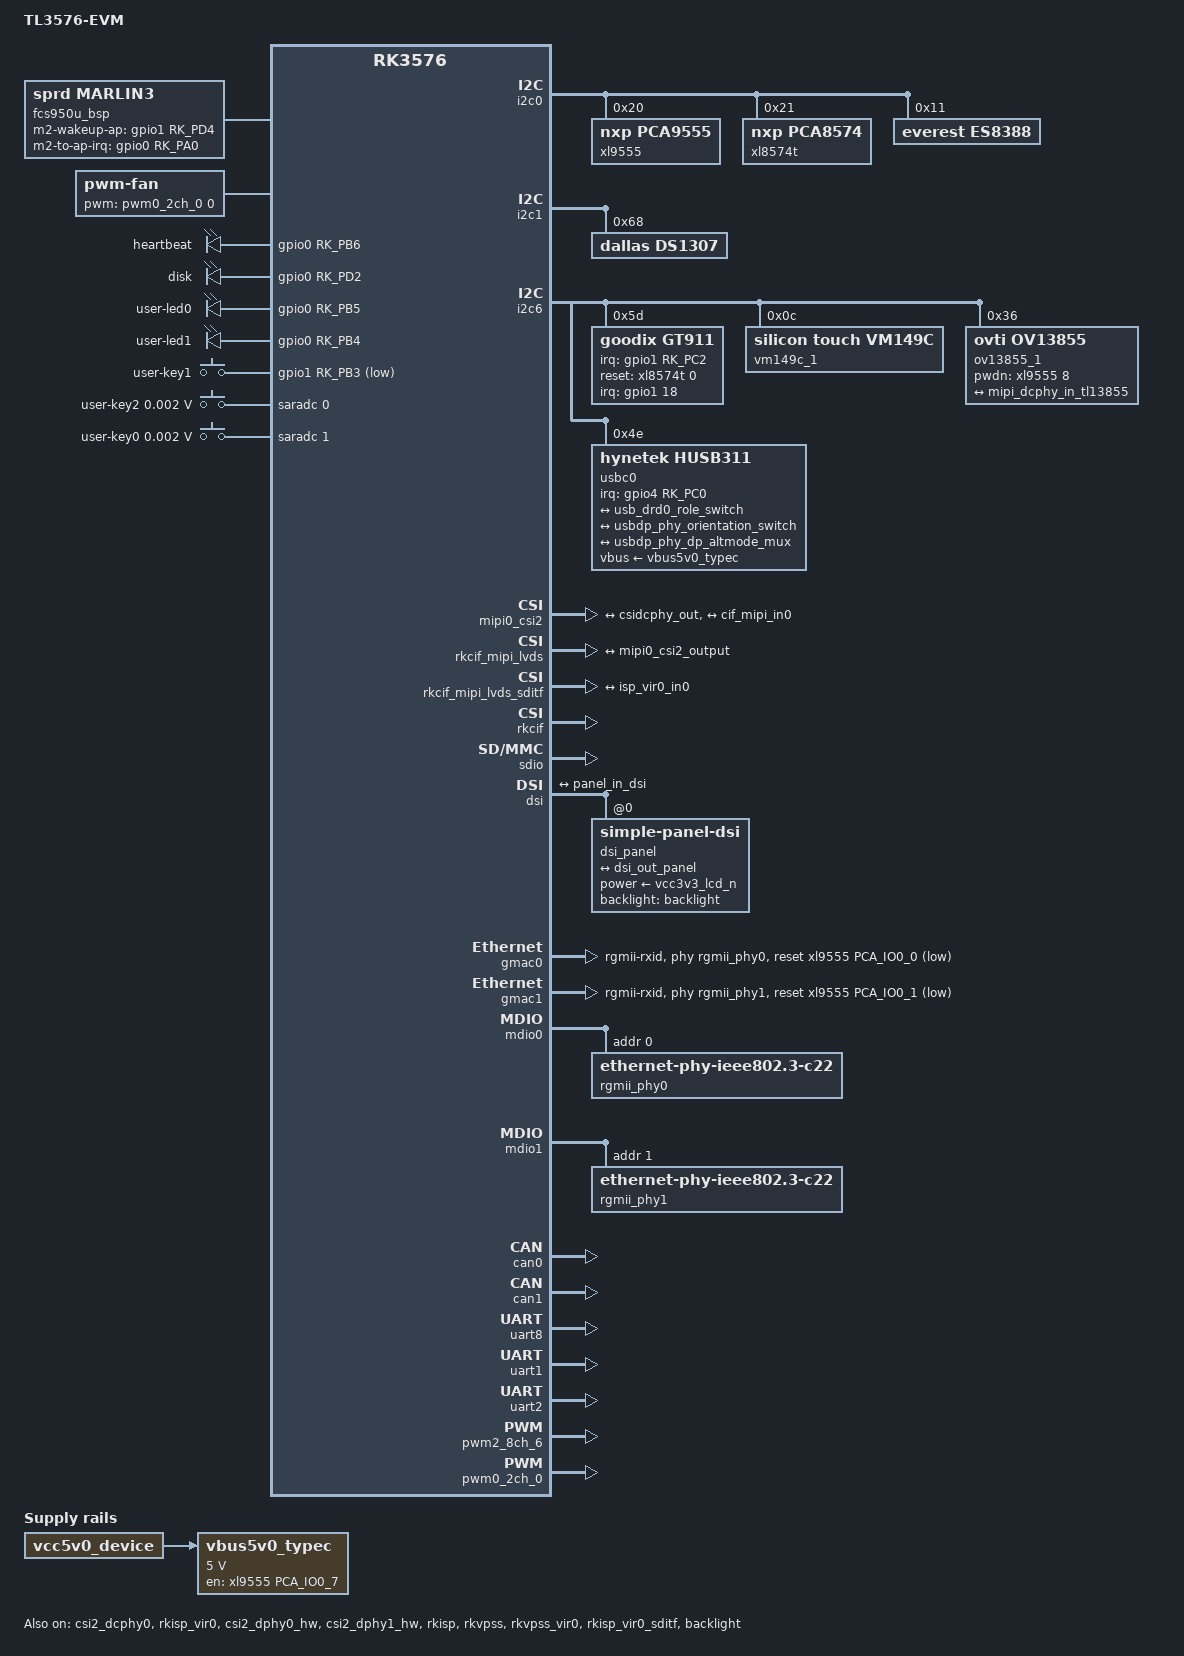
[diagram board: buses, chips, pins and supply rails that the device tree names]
// SPDX-License-Identifier: (GPL-2.0+ OR MIT)
/*
 * Copyright (c) 2024 Rockchip Electronics Co., Ltd.
 *
 */

/dts-v1/;

#include "rk3576.dtsi"
#include "rk3576-evb1.dtsi"
#include "rk3576-linux.dtsi"

/ {
	model = "TL3576-EVM";
	compatible = "tronlong,tl3576-evm", "rockchip,rk3576";

	vbus5v0_typec: vbus5v0-typec {
		compatible = "regulator-fixed";
		regulator-name = "vbus5v0_typec";
		regulator-min-microvolt = <5000000>;
		regulator-max-microvolt = <5000000>;
		enable-active-high;
		gpio = <&xl9555 PCA_IO0_7 GPIO_ACTIVE_HIGH>;
		vin-supply = <&vcc5v0_device>;
	};

	wireless_bluetooth: wireless-bluetooth {
		compatible = "bluetooth-platdata";
		//BT,reset_gpio    = <&xl8574t 7 GPIO_ACTIVE_HIGH>;
		status = "okay";
	};

	fcs950u_bsp: sprd-marlin3 {
		compatible = "sprd,marlin3";
		sprd,btwf-file-name = "/vendor/etc/wcnmodem.bin";
		sdhci-name = <&sdio>;
		keep-power-on;
		m2-wakeup-ap-gpios = <&gpio1 RK_PD4 GPIO_ACTIVE_HIGH>;
		m2-to-ap-irq-gpios = <&gpio0 RK_PA0 GPIO_ACTIVE_HIGH>;
		status = "okay";
	};

	sdio_pwrseq: sdio-pwrseq {
		compatible = "mmc-pwrseq-simple";

		/*
		 * On the module itself this is one of these (depending
		 * on the actual card populated):
		 * - SDIO_RESET_L_WL_REG_ON
		 * - PDN (power down when low)
		 */
		post-power-on-delay-ms = <200>;
		status = "okay";
	};


	sprd-wlan {
		compatible = "sprd,sc2355-wifi";
	};

	wireless_wlan: wireless-wlan {
		compatible = "wlan-platdata";
		wifi_chip_type = "ap6275p";
		pinctrl-names = "default";
		pinctrl-0 = <&wifi_host_wake_irq>;
		WIFI,host_wake_irq = <&gpio1 RK_PD4 GPIO_ACTIVE_HIGH>;
		/delete-property/ WIFI,host_wake_irq;
		status = "okay";
	};

	fan: pwm-fan {
		compatible = "pwm-fan";
		#cooling-cells = <2>;
		pwms = <&pwm0_2ch_0 0 50000 0>;
		cooling-levels = <0 50 100 150 200 255>;
		rockchip,temp-trips = <
			25000   5
		>;
	};

	leds {
		status = "okay";
		compatible = "gpio-leds";
		pinctrl-names = "default";
		pinctrl-0 = <&som_led0 &som_led1 &user_led0 &user_led1>;

		som_led0 {
			label = "heartbeat";
			gpios = <&gpio0 RK_PB6 GPIO_ACTIVE_HIGH>;
			linux,default-trigger = "heartbeat";
			default-state = "off";
		};

		som_led1 {
			label = "disk";
			gpios = <&gpio0 RK_PD2 GPIO_ACTIVE_HIGH>;
			linux,default-trigger = "mmc0";
			default-state = "off";
		};

		user_led0 {
			label = "user-led0";
			gpios = <&gpio0 RK_PB5 GPIO_ACTIVE_HIGH>;
			linux,default-trigger = "default-on";
			default-state = "off";
		};

		user_led1 {
			label = "user-led1";
			gpios = <&gpio0 RK_PB4 GPIO_ACTIVE_HIGH>;
			linux,default-trigger = "default-on";
			default-state = "off";
		};
	};

	gpio-keys {
		compatible = "gpio-keys";
		autorepeat;
		pinctrl-names = "default";
		pinctrl-0 = <&user_key0>;

		user_key0 {
			label = "user-key1";
			linux,code = <KEY_PROG2>;
			gpios = <&gpio1 RK_PB3 GPIO_ACTIVE_LOW>;
			debounce-interval = <0>;
		};
	};

	/delete-node/ adc-keys;

        adc-keys1 {
            compatible = "adc-keys";
            io-channels = <&saradc 0>;
            io-channel-names = "buttons";
            keyup-threshold-microvolt = <1800000>;
            poll-interval = <100>;

                user_key2 {
                    label = "user-key2";
                    linux,code = <KEY_PROG3>;
                    press-threshold-microvolt = <1750>;
                };
        };

        adc-keys2 {
            compatible = "adc-keys";
            io-channels = <&saradc 1>;
            io-channel-names = "buttons";
            keyup-threshold-microvolt = <1800000>;
            poll-interval = <100>;

                user_key0 {
                    label = "user-key0";
                    linux,code = <KEY_PROG1>;
                    press-threshold-microvolt = <1750>;
                };
        };
};

&fiq_debugger {
	rockchip,baudrate = <115200>;
};

&cluster0_opp_table{
        /* RK3576 A53 core limit at 1.4GHz */
        /delete-node/ opp-1608000000;
        /delete-node/ opp-1800000000;
        /delete-node/ opp-2016000000;

        /* RK3576J A53 core limit at 1.4GHz */
        /delete-node/ opp-j-m-1608000000;
        /delete-node/ opp-j-m-1800000000;
        /delete-node/ opp-j-m-1920000000;
};

&cluster1_opp_table{
        /* RK3576 A72 core limit at 1.6GHz */
        /delete-node/ opp-1800000000;
        /delete-node/ opp-2016000000;
        /delete-node/ opp-2208000000;

        /* RK3576J A72 core limit at 1.6GHz */
        /delete-node/ opp-j-m-1800000000;
        /delete-node/ opp-j-m-2016000000;
        /delete-node/ opp-j-m-2112000000;
};

&gpu_opp_table {
	/* RK3576 GPU limit at 700MHz */
	/delete-node/ opp-s-800000000;
	/delete-node/ opp-800000000;
	/delete-node/ opp-900000000;

	/* RK3576J GPU limit at 700MHz */
	/delete-node/ opp-j-m-800000000;
};

&npu_opp_table {
	/* RK3576 NPU limit at 700MHz */
	/delete-node/ opp-800000000;
	/delete-node/ opp-900000000;
	/delete-node/ opp-950000000;

	/* RK3576J NPU limit at 700MHz */
	/delete-node/ opp-j-m-800000000;
	/delete-node/ opp-j-m-850000000;
};

&dmc {
	system-status-level = <
		/* system status        freq level */
		SYS_STATUS_NORMAL       DMC_FREQ_LEVEL_HIGH
	>;
	auto-freq-en = <0>;
	status = "disabled";
};

&i2c0 {
	pinctrl-0 = <&i2c0m0_xfer>;
	status = "okay";

	xl9555: xl9555@20 {
		status = "okay";
		compatible = "nxp,pca9555";
		reg = <0x20>;
		gpio-controller;
		#gpio-cells = <2>;
		gpio-group-num = <200>;
	};

        xl8574t: xl8574@21 {
		status = "okay";
		compatible = "nxp,pca8574";
		reg = <0x21>;
		gpio-controller;
		#gpio-cells = <2>;
	};

	es8388: es8388@11 {
		status = "okay";
		#sound-dai-cells = <0>;
		compatible = "everest,es8388", "everest,es8323";
		reg = <0x11>;
		clocks = <&mclkout_sai1>;
		clock-names = "mclk";
		assigned-clocks = <&mclkout_sai1>;
		assigned-clock-rates = <12288000>;
		pinctrl-names = "default";
		pinctrl-0 = <&sai1m0_mclk>;
	};
};

&i2c1 {
	status = "okay";

	ds1307@68 {
		compatible = "dallas,ds1307";
		reg = <0x68>;
		status = "okay";
	};
};

&i2c4 {
	status = "disabled";
};

&i2c6 {
	status = "okay";
	pinctrl-names = "default";
	pinctrl-0 = <&i2c6m0_xfer>;

	gt911@5d {
		compatible = "goodix,gt911";
		reg = <0x5d>;
		interrupt-parent = <&gpio1>;
		interrupts = <18 0>;
		irq-gpios = <&gpio1 RK_PC2 0>;
		reset-gpios = <&xl8574t 0 GPIO_ACTIVE_HIGH>;
		pinctrl-names = "default";
		pinctrl-0 = <&gt911_int>;
		status = "okay";
	};

	vm149c_1: vm149c@c {
                compatible = "silicon touch,vm149c";
                status = "okay";
                reg = <0x0c>;
                rockchip,camera-module-index = <0>;
                rockchip,camera-module-facing = "back";
        };

    ov13855_1: ov13855@36 {
                compatible = "ovti,ov13855";
                status = "okay";
                reg = <0x36>;
                clocks = <&cru CLK_MIPI_CAMERAOUT_M1>;
                clock-names = "xvclk";
                pwdn-gpios = <&xl9555 8 GPIO_ACTIVE_HIGH>;
                power-domains = <&power RK3576_PD_VI>;
                rockchip,camera-module-index = <1>;
                rockchip,camera-module-facing = "back";
                rockchip,camera-module-name = "RK-CMK-8M-2-v1";
                rockchip,camera-module-lens-name = "CK8401";
                lens-focus = <&vm149c_1>;

                port {
                        camera5_out: endpoint {
                                remote-endpoint = <&mipi_dcphy_in_tl13855>;
                                data-lanes = <1 2 3 4>;
                        };
                };
        };

	usbc0: husb311@4e {
		compatible = "hynetek,husb311";
		reg = <0x4e>;
		interrupt-parent = <&gpio4>;
		interrupts = <RK_PC0 IRQ_TYPE_LEVEL_LOW>;
		pinctrl-names = "default";
		pinctrl-0 = <&usbc0_int>;
		vbus-supply = <&vbus5v0_typec>;
		status = "okay";

		port {
			usbc0_role_sw: endpoint {
				remote-endpoint = <&usb_drd0_role_switch>;
			};
		};

		usb_con: connector {
			compatible = "usb-c-connector";
			label = "USB-C";
			data-role = "dual";
			power-role = "dual";
			try-power-role = "sink";
			op-sink-microwatt = <1000000>;
			sink-pdos =
				<PDO_FIXED(5000, 1000, PDO_FIXED_USB_COMM)>;
			source-pdos =
				<PDO_FIXED(5000, 3000, PDO_FIXED_USB_COMM)>;
			mode-switch = <&dp>;

			altmodes {
				#address-cells = <1>;
				#size-cells = <0>;

				altmode@0 {
					reg = <0>;
					svid = <0xff01>;
					vdo = <0xffffffff>;
				};
			};

			ports {
				#address-cells = <1>;
				#size-cells = <0>;

				port@0 {
					reg = <0>;
					usbc0_orien_sw: endpoint {
						remote-endpoint = <&usbdp_phy_orientation_switch>;
					};
				};

				port@1 {
					reg = <1>;
					dp_altmode_mux: endpoint {
						remote-endpoint = <&usbdp_phy_dp_altmode_mux>;
					};
				};
			};
		};
	};
};

&csi2_dcphy0 {
	status = "okay";

	ports {
                #address-cells = <1>;
                #size-cells = <0>;
                port@0 {
                        reg = <0>;
			#address-cells = <1>;
                        #size-cells = <0>;

                        mipi_dcphy_in_tl13855: endpoint@1 {
                                reg = <1>;
                                remote-endpoint = <&camera5_out>;
                                data-lanes = <1 2 3 4>;
                        };
                };
                port@1 {
                        reg = <1>;
                        #address-cells = <1>;
                        #size-cells = <0>;

                        csidcphy_out: endpoint@0 {
                                reg = <0>;
                                remote-endpoint = <&mipi0_csi2_input>;
                        };
                };
        };
};


&mipi0_csi2 {
        status = "okay";

        ports {
                #address-cells = <1>;
                #size-cells = <0>;

                port@0 {
                        reg = <0>;
                        #address-cells = <1>;
                        #size-cells = <0>;

                        mipi0_csi2_input: endpoint@1 {
                                reg = <1>;
                                remote-endpoint = <&csidcphy_out>;
                        };
                };

                port@1 {
                        reg = <1>;
                        #address-cells = <1>;
                        #size-cells = <0>;

                        mipi0_csi2_output: endpoint@0 {
                                reg = <0>;
                                remote-endpoint = <&cif_mipi_in0>;
                        };
                };
        };
};


&rkcif_mipi_lvds {
        status = "okay";

        port {
                cif_mipi_in0: endpoint {
                        remote-endpoint = <&mipi0_csi2_output>;
                };
        };
};


&rkcif_mipi_lvds_sditf {
	status = "okay";

	port {
                mipi_lvds_sditf: endpoint {
                        remote-endpoint = <&isp_vir0_in0>;
                };
        };
};


&rkisp_vir0 {
        status = "okay";

        port {
                #address-cells = <1>;
                #size-cells = <0>;

                isp_vir0_in0: endpoint@0 {
                        reg = <0>;
                        remote-endpoint = <&mipi_lvds_sditf>;
                };
        };
};

&rkcif {
        status = "okay";
};

&csi2_dphy0_hw {
        status = "okay";
};

&csi2_dphy1_hw {
        status = "okay";
};

&rkcif_mmu {
        status = "okay";
};

&rkisp {
        status = "okay";
};

&rkisp_mmu {
        status = "okay";
};

&rkvpss {
        status = "okay";
};

&rkvpss_mmu {
        status = "okay";
};

&rkvpss_vir0 {
        status = "okay";
};

&rkisp_vir0_sditf {
	status = "okay";
};

&sdio {
	supports-SDIO;
	status = "okay";
};

&dsi {
	status = "okay";
	//rockchip,lane-rate = <1000>;
	dsi_panel: panel@0 {
		status = "okay";
		compatible = "simple-panel-dsi";
		reg = <0>;
		backlight = <&backlight>;
		reset-delay-ms = <200>;
		enable-delay-ms = <200>;
		prepare-delay-ms = <200>;
		unprepare-delay-ms = <200>;
		disable-delay-ms = <200>;
		width-mm = <94>;
		height-mm = <150>;
		dsi,flags = <(MIPI_DSI_MODE_VIDEO | MIPI_DSI_MODE_VIDEO_BURST |
			      MIPI_DSI_MODE_LPM | MIPI_DSI_MODE_NO_EOT_PACKET)>;
		dsi,format = <MIPI_DSI_FMT_RGB888>;
		dsi,lanes  = <4>;
		panel-init-sequence = [
			05 1E 01 01
			23 00 02 EE 50
			29 00 03 EA 85 55
			23 00 02 30 00
			23 00 02 31 00
			29 00 03 90 50 15
			23 00 02 24 20
			23 00 02 99 00
			23 00 02 79 00
			23 00 02 95 74
			23 00 02 7A 20
			23 00 02 97 09
			23 00 02 7D 08
			23 00 02 56 83
			23 00 02 EE 60
			23 00 02 30 01
			23 00 02 27 22
			23 00 02 3A A4
			23 00 02 3B 00
			23 00 02 3C 1A
			23 00 02 3D 11
			23 00 02 3E 93
			23 00 02 42 64
			23 00 02 43 64
			23 00 02 44 0B
			23 00 02 46 4E
			23 00 02 8B 90
			23 00 02 8D 45
			23 00 02 91 11
			23 00 02 92 11
			23 00 02 93 9F
			23 00 02 9A 00
			23 00 02 9C 80
			29 00 06 47 0F 24 2C 39 36
			29 00 06 5A 0F 24 2C 39 36
			29 00 06 4C 4A 40 51 31 2F
			29 00 06 51 2D 10 25 1F 30
			29 00 05 56 37 46 5B 7F
			29 00 05 69 37 46 5B 7F
			23 00 02 EE 70
			29 00 05 00 03 07 00 01
			29 00 05 04 08 0C 55 01
			29 00 03 0C 05 3D
			29 00 06 10 05 08 00 01 05
			29 00 06 15 00 15 0D 08 00
			29 00 03 29 05 3D
			29 00 06 60 3C 3C 07 05 17
			29 00 06 65 15 13 11 01 03
			29 00 06 6A 3C 3C 3C 3C 3C
			29 00 06 6F 3C 3C 3C 3C 3C
			29 00 03 74 3C 3C
			29 00 06 80 3C 3C 06 04 16
			29 00 06 85 14 12 10 00 02
			29 00 06 8A 3C 3C 3C 3C 3C
			29 00 06 8F 3C 3C 3C 3C 3C
			29 00 03 94 3C 3C
			29 00 03 EA 00 00
			23 00 02 EE 00
			05 78 01 11
			05 1E 01 29
		];

		panel-exit-sequence = [
			05 00 01 28
			05 00 01 10
		];

		disp_timings0: display-timings {
			native-mode = <&dsi_timing0>;
			dsi_timing0: timing0 {
				clock-frequency = <67200000>;
                hactive = <800>;
                vactive = <1280>;
                hfront-porch = <80>;
                hsync-len = <20>;
                hback-porch = <20>;
                vfront-porch = <15>;
                vsync-len = <6>;
                vback-porch = <8>;
                hsync-active = <0>;
                vsync-active = <0>;
                de-active = <0>;
                pixelclk-active = <1>;
			};
		};

		ports {
			#address-cells = <1>;
			#size-cells = <0>;

			port@0 {
				reg = <0>;
				panel_in_dsi: endpoint {
					remote-endpoint = <&dsi_out_panel>;
				};
			};
		};
	};

	ports {
		#address-cells = <1>;
		#size-cells = <0>;

		port@1 {
			reg = <1>;
			dsi_out_panel: endpoint {
				remote-endpoint = <&panel_in_dsi>;
			};
		};
	};

};

&dsi_panel {
	power-supply = <&vcc3v3_lcd_n>;
};

&gmac0 {
	/* Use rgmii-rxid mode to disable rx delay inside Soc */
	phy-mode = "rgmii-rxid";
	clock_in_out = "output";

	snps,reset-gpio = <&xl9555 PCA_IO0_0 GPIO_ACTIVE_LOW>;
	snps,reset-active-low;
	/* Reset time is 20ms, 100ms for rtl8211f */
	snps,reset-delays-us = <0 20000 100000>;

	pinctrl-names = "default";
	pinctrl-0 = <&eth0m1_miim
		     &eth0m1_tx_bus2
		     &eth0m1_rx_bus2
		     &eth0m1_rgmii_clk
		     &eth0m1_rgmii_bus>;

	tx_delay = <0x21>;
	/* rx_delay = <0x3f>; */

	phy-handle = <&rgmii_phy0>;
	status = "okay";
};

&gmac1 {
	/* Use rgmii-rxid mode to disable rx delay inside Soc */
	phy-mode = "rgmii-rxid";
	clock_in_out = "output";

	snps,reset-gpio = <&xl9555 PCA_IO0_1 GPIO_ACTIVE_LOW>;
	snps,reset-active-low;
	/* Reset time is 20ms, 100ms for rtl8211f */
	snps,reset-delays-us = <0 20000 100000>;

	pinctrl-names = "default";
	pinctrl-0 = <&eth1m0_miim
		     &eth1m0_tx_bus2
		     &eth1m0_rx_bus2
		     &eth1m0_rgmii_clk
		     &eth1m0_rgmii_bus>;

	tx_delay = <0x20>;
	/* rx_delay = <0x3f>; */

	phy-handle = <&rgmii_phy1>;
	status = "okay";
};

&mdio0 {
	rgmii_phy0: phy@1 {
		compatible = "ethernet-phy-ieee802.3-c22";
		reg = <0x0>;
		clocks = <&cru REFCLKO25M_GMAC0_OUT>;
		motorcomm,keep-pll-enabled;
		motorcomm,auto-sleep-disabled;
	};
};

&mdio1 {
	rgmii_phy1: phy@1 {
		compatible = "ethernet-phy-ieee802.3-c22";
		reg = <0x1>;
		clocks = <&cru REFCLKO25M_GMAC1_OUT>;
		motorcomm,keep-pll-enabled;
		motorcomm,auto-sleep-disabled;
	};
};

&can0 {
	status = "okay";
        pinctrl-names = "default";
        pinctrl-0 = <&can0m2_pins>;
};

&can1 {
	status = "okay";
        pinctrl-names = "default";
        pinctrl-0 = <&can1m1_pins>;
};

&uart8 {
	status = "okay";
	pinctrl-names = "default";
	pinctrl-0 = <&uart8m2_xfer>;
};

&uart1 {
	status = "okay";
	pinctrl-names = "default";
	linux,rs485-enabled-at-boot-time;
#if 1
	//RTS Flow Control Scheme
	pinctrl-0 = <&uart1m0_xfer &uart1m0_rtsn>;
#else
	//GPIO flow control scheme
	pinctrl-0 = <&uart1m0_xfer &uart1_de_gpios>;
	rs485-de-gpios = <&gpio0 RK_PD3 GPIO_ACTIVE_HIGH>;
	rs485-rts-delay = <0 0>;
	rs485-rts-active-low;
#endif
};

&uart2 {
	status = "okay";
	pinctrl-names = "default";
	linux,rs485-enabled-at-boot-time;
#if 1
	//RTS Flow Control Scheme
	pinctrl-0 = <&uart2m1_xfer &uart2m1_rtsn>;
#else
	//GPIO flow control scheme
	pinctrl-0 = <&uart2m1_xfer &uart2_de_gpios>;
	rs485-de-gpios = <&gpio4 RK_PB0 GPIO_ACTIVE_HIGH>;
	rs485-rts-delay = <0 0>;
	rs485-rts-active-low;
#endif
};

&pwm2_8ch_6 {
	status = "okay";
	pinctrl-0 = <&pwm2m2_ch6>;
};

&pwm0_2ch_0 {
        status = "okay";
        pinctrl-0 = <&pwm0m0_ch0>;
};

&backlight {
        pwms = <&pwm2_8ch_6 0 25000 0>;
        status = "okay";
};

&usbdp_phy {
	orientation-switch;
	svid = <0xff01>;
	sbu1-dc-gpios = <&gpio4 RK_PC4 GPIO_ACTIVE_HIGH>;
	sbu2-dc-gpios = <&gpio4 RK_PC5 GPIO_ACTIVE_HIGH>;

	port {
		#address-cells = <1>;
		#size-cells = <0>;

		usbdp_phy_orientation_switch: endpoint@0 {
			reg = <0>;
			remote-endpoint = <&usbc0_orien_sw>;
		};

		usbdp_phy_dp_altmode_mux: endpoint@1 {
			reg = <1>;
			remote-endpoint = <&dp_altmode_mux>;
		};
	};
};

&es8388_sound {
        /delete-property/ spk-con-gpio;
	/delete-property/ io-channels;
	/delete-property/ io-channel-name;
        hp-det-gpio = <&gpio4 RK_PB2 GPIO_ACTIVE_HIGH>;
        hp-con-gpio = <&xl8574t 2 GPIO_ACTIVE_HIGH>;
};

&pinctrl {
	leds {
		som_led0: som-led0 {
			rockchip,pins = <0 RK_PB6 RK_FUNC_GPIO &pcfg_pull_none>;
		};

		som_led1: som-led1 {
			rockchip,pins = <0 RK_PD2 RK_FUNC_GPIO &pcfg_pull_none>;
		};

		user_led0: user-led0 {
			rockchip,pins = <0 RK_PB5 RK_FUNC_GPIO &pcfg_pull_none>;
		};

		user_led1: user-led1 {
			rockchip,pins = <0 RK_PB4 RK_FUNC_GPIO &pcfg_pull_none>;
		};
	};

	keys {
		user_key0: user-key0 {
			rockchip,pins = <1 RK_PB3 RK_FUNC_GPIO &pcfg_pull_none>;
		};
	};

	usb {
		usbc0_int: usbc0-int {
			rockchip,pins = <4 RK_PC0 RK_FUNC_GPIO &pcfg_pull_up>;
		};
	};

	touch {
		gt911_int: gt911-int {
			rockchip,pins = <1 RK_PC2 RK_FUNC_GPIO &pcfg_pull_none>;
		};
	};

	wireless-wlan {
		wifi_host_wake_irq: wifi-host-wake-irq {
			rockchip,pins = <1 RK_PD4 RK_FUNC_GPIO &pcfg_pull_down>;
		};

		wifi_poweren_gpio: wifi-poweren-gpio {
			rockchip,pins = <1 RK_PC6 RK_FUNC_GPIO &pcfg_pull_up>;
		};
	};

	headphone {
		hp_det: hp-det {
			rockchip,pins = <4 RK_PB2 RK_FUNC_GPIO &pcfg_pull_none>;
		};
	};

	uart1-de {
		uart1_de_gpios: uart1-de-gpios {
			rockchip,pins = <0 RK_PD3 RK_FUNC_GPIO &pcfg_pull_none>;
		};
	};

	uart2-de {
		uart2_de_gpios: uart2-de-gpios {
			rockchip,pins = <4 RK_PB0 RK_FUNC_GPIO &pcfg_pull_none>;
		};
	};
};
